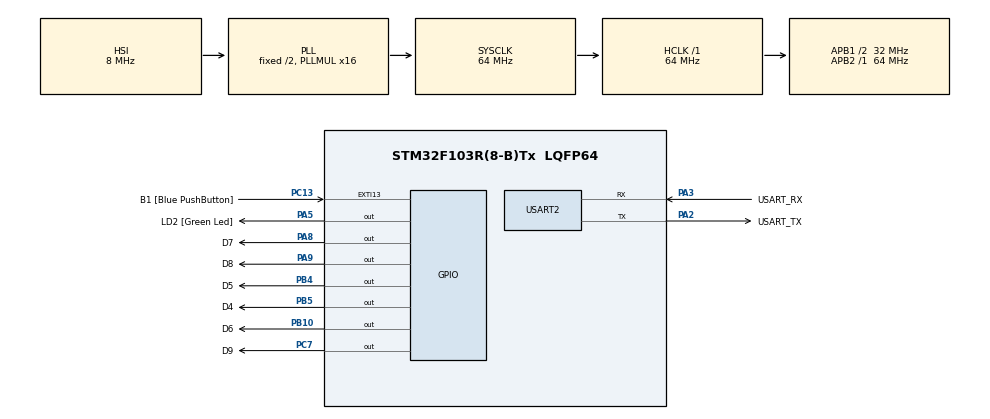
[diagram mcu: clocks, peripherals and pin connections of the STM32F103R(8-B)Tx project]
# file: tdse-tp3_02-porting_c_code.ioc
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<<<<<<< HEAD
Mcu.Family=STM32F1
Mcu.Name=STM32F103R(8-B)Tx
Mcu.Package=LQFP64
NVIC.EXTI15_10_IRQn=true\:0\:0\:false\:false\:true\:true\:true\:true
NVIC.PriorityGroup=NVIC_PRIORITYGROUP_4
PA13.GPIO_Label=TMS
PA13.Mode=Serial_Wire
PA13.Signal=SYS_JTMS-SWDIO
PA14.GPIO_Label=TCK
PA14.Mode=Serial_Wire
PA14.Signal=SYS_JTCK-SWCLK
PA2.GPIO_Label=USART_TX
PA2.GPIO_Mode=GPIO_MODE_AF_PP
PA2.GPIO_PuPd=GPIO_NOPULL
PA2.GPIO_Speed=GPIO_SPEED_FREQ_LOW
PA2.Mode=Asynchronous
PA2.Signal=USART2_TX
PA3.GPIO_Label=USART_RX
PA3.GPIO_Mode=GPIO_MODE_AF_PP
PA3.GPIO_PuPd=GPIO_NOPULL
PA3.GPIO_Speed=GPIO_SPEED_FREQ_LOW
PA3.Mode=Asynchronous
PA3.Signal=USART2_RX
PA5.GPIO_Label=LD2 [Green Led]
PA5.GPIO_ModeDefaultOutputPP=GPIO_MODE_OUTPUT_PP
PA5.GPIO_PuPd=GPIO_NOPULL
PA5.GPIO_Speed=GPIO_SPEED_FREQ_LOW
PA5.Signal=GPIO_Output
PA8.GPIO_Label=D7
PA8.GPIO_PuPd=GPIO_PULLUP
PA8.Signal=GPIO_Output
PA9.GPIO_Label=D8
PA9.GPIO_PuPd=GPIO_PULLUP
PA9.Signal=GPIO_Output
PB10.GPIO_Label=D6
PB10.GPIO_PuPd=GPIO_PULLUP
PB10.Signal=GPIO_Output
PB3.GPIO_Label=SWO
PB3.Signal=SYS_JTDO-TRACESWO
PB4.GPIO_Label=D5
PB4.GPIO_PuPd=GPIO_PULLUP
PB4.Signal=GPIO_Output
PB5.GPIO_Label=D4
PB5.GPIO_PuPd=GPIO_PULLUP
PB5.Signal=GPIO_Output
PC13-TAMPER-RTC.GPIO_Label=B1 [Blue PushButton]
PC13-TAMPER-RTC.GPIO_PuPd=GPIO_NOPULL
PC13-TAMPER-RTC.Signal=GPXTI13
PC14-OSC32_IN.Mode=LSE-External-Oscillator
PC14-OSC32_IN.Signal=RCC_OSC32_IN
PC15-OSC32_OUT.Mode=LSE-External-Oscillator
PC15-OSC32_OUT.Signal=RCC_OSC32_OUT
PC7.GPIO_Label=D9
PC7.GPIO_PuPd=GPIO_PULLUP
PC7.Signal=GPIO_Output
PD0-OSC_IN.Mode=HSE-External-Clock-Source
PD0-OSC_IN.Signal=RCC_OSC_IN
PD1-OSC_OUT.Mode=HSE-External-Clock-Source
PD1-OSC_OUT.Signal=RCC_OSC_OUT
ProjectManager.HeapSize=0x200
ProjectManager.StackSize=0x400
ProjectManager.TargetToolchain=STM32CubeIDE
RCC.AHBFreq_Value=64000000
RCC.APB1CLKDivider=RCC_HCLK_DIV2
RCC.APB1Freq_Value=32000000
RCC.APB1TimFreq_Value=64000000
RCC.APB2Freq_Value=64000000
RCC.APB2TimFreq_Value=64000000
RCC.HCLKFreq_Value=64000000
RCC.PLLMUL=RCC_PLL_MUL16
RCC.RTCClockSelection=RCC_RTCCLKSOURCE_LSE
RCC.SYSCLKFreq_VALUE=64000000
RCC.SYSCLKSource=RCC_SYSCLKSOURCE_PLLCLK
RCC.USBFreq_Value=64000000
USART2.VirtualMode=VM_ASYNC
board=NUCLEO-F103RB
=======
Mcu.Family=STM32F1
Mcu.Name=STM32F103R(8-B)Tx
Mcu.Package=LQFP64
NVIC.EXTI15_10_IRQn=true\:0\:0\:false\:false\:true\:true\:true\:true
NVIC.PriorityGroup=NVIC_PRIORITYGROUP_4
PA13.GPIO_Label=TMS
PA13.Mode=Serial_Wire
PA13.Signal=SYS_JTMS-SWDIO
PA14.GPIO_Label=TCK
PA14.Mode=Serial_Wire
PA14.Signal=SYS_JTCK-SWCLK
PA2.GPIO_Label=USART_TX
PA2.GPIO_Mode=GPIO_MODE_AF_PP
PA2.GPIO_PuPd=GPIO_NOPULL
PA2.GPIO_Speed=GPIO_SPEED_FREQ_LOW
PA2.Mode=Asynchronous
PA2.Signal=USART2_TX
PA3.GPIO_Label=USART_RX
PA3.GPIO_Mode=GPIO_MODE_AF_PP
PA3.GPIO_PuPd=GPIO_NOPULL
PA3.GPIO_Speed=GPIO_SPEED_FREQ_LOW
PA3.Mode=Asynchronous
PA3.Signal=USART2_RX
PA5.GPIO_Label=LD2 [Green Led]
PA5.GPIO_ModeDefaultOutputPP=GPIO_MODE_OUTPUT_PP
PA5.GPIO_PuPd=GPIO_NOPULL
PA5.GPIO_Speed=GPIO_SPEED_FREQ_LOW
PA5.Signal=GPIO_Output
PA8.GPIO_Label=D7
PA8.GPIO_PuPd=GPIO_PULLUP
PA8.Signal=GPIO_Output
PA9.GPIO_Label=D8
PA9.GPIO_PuPd=GPIO_PULLUP
PA9.Signal=GPIO_Output
PB10.GPIO_Label=D6
PB10.GPIO_PuPd=GPIO_PULLUP
PB10.Signal=GPIO_Output
PB3.GPIO_Label=SWO
PB3.Signal=SYS_JTDO-TRACESWO
PB4.GPIO_Label=D5
PB4.GPIO_PuPd=GPIO_PULLUP
PB4.Signal=GPIO_Output
PB5.GPIO_Label=D4
PB5.GPIO_PuPd=GPIO_PULLUP
PB5.Signal=GPIO_Output
PC13-TAMPER-RTC.GPIO_Label=B1 [Blue PushButton]
PC13-TAMPER-RTC.GPIO_PuPd=GPIO_NOPULL
PC13-TAMPER-RTC.Signal=GPXTI13
PC14-OSC32_IN.Mode=LSE-External-Oscillator
PC14-OSC32_IN.Signal=RCC_OSC32_IN
PC15-OSC32_OUT.Mode=LSE-External-Oscillator
PC15-OSC32_OUT.Signal=RCC_OSC32_OUT
PC7.GPIO_Label=D9
PC7.GPIO_PuPd=GPIO_PULLUP
PC7.Signal=GPIO_Output
PD0-OSC_IN.Mode=HSE-External-Clock-Source
PD0-OSC_IN.Signal=RCC_OSC_IN
PD1-OSC_OUT.Mode=HSE-External-Clock-Source
PD1-OSC_OUT.Signal=RCC_OSC_OUT
ProjectManager.HeapSize=0x200
ProjectManager.StackSize=0x400
ProjectManager.TargetToolchain=STM32CubeIDE
RCC.AHBFreq_Value=64000000
RCC.APB1CLKDivider=RCC_HCLK_DIV2
RCC.APB1Freq_Value=32000000
RCC.APB1TimFreq_Value=64000000
RCC.APB2Freq_Value=64000000
RCC.APB2TimFreq_Value=64000000
RCC.HCLKFreq_Value=64000000
RCC.PLLMUL=RCC_PLL_MUL16
RCC.RTCClockSelection=RCC_RTCCLKSOURCE_LSE
RCC.SYSCLKFreq_VALUE=64000000
RCC.SYSCLKSource=RCC_SYSCLKSOURCE_PLLCLK
RCC.USBFreq_Value=64000000
USART2.VirtualMode=VM_ASYNC
board=NUCLEO-F103RB
>>>>>>> ff0b824 (Subo Itemis Creat)

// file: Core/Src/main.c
<<<<<<< HEAD
/* USER CODE BEGIN Header */
/**
  ******************************************************************************
  * @file           : main.c
  * @brief          : Main program body
  ******************************************************************************
  * @attention
  *
  * Copyright (c) 2026 STMicroelectronics.
  * All rights reserved.
  *
  * This software is licensed under terms that can be found in the LICENSE file
  * in the root directory of this software component.
  * If no LICENSE file comes with this software, it is provided AS-IS.
  *
  ******************************************************************************
  */
/* USER CODE END Header */
#include "main.h"

/* USER CODE BEGIN Includes */

/* Application includes */
#include "logger.h"
#include "app.h"

/* USER CODE END Includes */

UART_HandleTypeDef huart2;

void SystemClock_Config(void);
static void MX_GPIO_Init(void);
static void MX_USART2_UART_Init(void);

/* USER CODE BEGIN 0 */
#if (1 == LOGGER_CONFIG_USE_SEMIHOSTING)

extern void initialise_monitor_handles(void);

#endif

/* USER CODE END 0 */

int main(void)
{

  /* USER CODE BEGIN 1 */
  #if (1 == LOGGER_CONFIG_USE_SEMIHOSTING)

  initialise_monitor_handles();

  #endif

  /* USER CODE END 1 */

  /* MCU Configuration--------------------------------------------------------*/

  /* Reset of all peripherals, Initializes the Flash interface and the Systick. */
  HAL_Init();

  /* Configure the system clock */
  SystemClock_Config();

  /* Initialize all configured peripherals */
  MX_GPIO_Init();
  MX_USART2_UART_Init();
  /* USER CODE BEGIN 2 */

  /* Application Init */
  app_init();

  /* USER CODE END 2 */

  /* Infinite loop */
  while (1)
  {

    /* USER CODE BEGIN 3 */

    /* Application Update */
    app_update();
  }
  /* USER CODE END 3 */
}

void SystemClock_Config(void)
{
  RCC_OscInitTypeDef RCC_OscInitStruct = {0};
  RCC_ClkInitTypeDef RCC_ClkInitStruct = {0};

  /** Initializes the RCC Oscillators according to the specified parameters
  * in the RCC_OscInitTypeDef structure.
  */
  RCC_OscInitStruct.OscillatorType = RCC_OSCILLATORTYPE_HSI;
  RCC_OscInitStruct.HSIState = RCC_HSI_ON;
  RCC_OscInitStruct.HSICalibrationValue = RCC_HSICALIBRATION_DEFAULT;
  RCC_OscInitStruct.PLL.PLLState = RCC_PLL_ON;
  RCC_OscInitStruct.PLL.PLLSource = RCC_PLLSOURCE_HSI_DIV2;
  RCC_OscInitStruct.PLL.PLLMUL = RCC_PLL_MUL16;
  if (HAL_RCC_OscConfig(&RCC_OscInitStruct) != HAL_OK)
  {
    Error_Handler();
  }

  /** Initializes the CPU, AHB and APB buses clocks
  */
  RCC_ClkInitStruct.ClockType = RCC_CLOCKTYPE_HCLK|RCC_CLOCKTYPE_SYSCLK
                              |RCC_CLOCKTYPE_PCLK1|RCC_CLOCKTYPE_PCLK2;
  RCC_ClkInitStruct.SYSCLKSource = RCC_SYSCLKSOURCE_PLLCLK;
  RCC_ClkInitStruct.AHBCLKDivider = RCC_SYSCLK_DIV1;
  RCC_ClkInitStruct.APB1CLKDivider = RCC_HCLK_DIV2;
  RCC_ClkInitStruct.APB2CLKDivider = RCC_HCLK_DIV1;

  if (HAL_RCC_ClockConfig(&RCC_ClkInitStruct, FLASH_LATENCY_2) != HAL_OK)
  {
    Error_Handler();
  }
}

static void MX_USART2_UART_Init(void)
{

  huart2.Instance = USART2;
  huart2.Init.BaudRate = 115200;
  huart2.Init.WordLength = UART_WORDLENGTH_8B;
  huart2.Init.StopBits = UART_STOPBITS_1;
  huart2.Init.Parity = UART_PARITY_NONE;
  huart2.Init.Mode = UART_MODE_TX_RX;
  huart2.Init.HwFlowCtl = UART_HWCONTROL_NONE;
  huart2.Init.OverSampling = UART_OVERSAMPLING_16;
  if (HAL_UART_Init(&huart2) != HAL_OK)
  {
    Error_Handler();
  }

}

static void MX_GPIO_Init(void)
{
  GPIO_InitTypeDef GPIO_InitStruct = {0};

  /* GPIO Ports Clock Enable */
  __HAL_RCC_GPIOC_CLK_ENABLE();
  __HAL_RCC_GPIOD_CLK_ENABLE();
  __HAL_RCC_GPIOA_CLK_ENABLE();
  __HAL_RCC_GPIOB_CLK_ENABLE();

  /*Configure GPIO pin Output Level */
  HAL_GPIO_WritePin(GPIOA, LD2_Pin|D7_Pin|D8_Pin, GPIO_PIN_RESET);

  /*Configure GPIO pin Output Level */
  HAL_GPIO_WritePin(GPIOB, D6_Pin|D5_Pin|D4_Pin, GPIO_PIN_RESET);

  /*Configure GPIO pin Output Level */
  HAL_GPIO_WritePin(D9_GPIO_Port, D9_Pin, GPIO_PIN_RESET);

  /*Configure GPIO pin : B1_Pin */
  GPIO_InitStruct.Pin = B1_Pin;
  GPIO_InitStruct.Mode = GPIO_MODE_IT_RISING;
  GPIO_InitStruct.Pull = GPIO_NOPULL;
  HAL_GPIO_Init(B1_GPIO_Port, &GPIO_InitStruct);

  /*Configure GPIO pin : LD2_Pin */
  GPIO_InitStruct.Pin = LD2_Pin;
  GPIO_InitStruct.Mode = GPIO_MODE_OUTPUT_PP;
  GPIO_InitStruct.Pull = GPIO_NOPULL;
  GPIO_InitStruct.Speed = GPIO_SPEED_FREQ_LOW;
  HAL_GPIO_Init(LD2_GPIO_Port, &GPIO_InitStruct);

  /*Configure GPIO pins : D6_Pin D5_Pin D4_Pin */
  GPIO_InitStruct.Pin = D6_Pin|D5_Pin|D4_Pin;
  GPIO_InitStruct.Mode = GPIO_MODE_OUTPUT_PP;
  GPIO_InitStruct.Pull = GPIO_PULLUP;
  GPIO_InitStruct.Speed = GPIO_SPEED_FREQ_LOW;
  HAL_GPIO_Init(GPIOB, &GPIO_InitStruct);

  /*Configure GPIO pin : D9_Pin */
  GPIO_InitStruct.Pin = D9_Pin;
  GPIO_InitStruct.Mode = GPIO_MODE_OUTPUT_PP;
  GPIO_InitStruct.Pull = GPIO_PULLUP;
  GPIO_InitStruct.Speed = GPIO_SPEED_FREQ_LOW;
  HAL_GPIO_Init(D9_GPIO_Port, &GPIO_InitStruct);

  /*Configure GPIO pins : D7_Pin D8_Pin */
  GPIO_InitStruct.Pin = D7_Pin|D8_Pin;
  GPIO_InitStruct.Mode = GPIO_MODE_OUTPUT_PP;
  GPIO_InitStruct.Pull = GPIO_PULLUP;
  GPIO_InitStruct.Speed = GPIO_SPEED_FREQ_LOW;
  HAL_GPIO_Init(GPIOA, &GPIO_InitStruct);

  /* EXTI interrupt init*/
  HAL_NVIC_SetPriority(EXTI15_10_IRQn, 0, 0);
  HAL_NVIC_EnableIRQ(EXTI15_10_IRQn);

}

void Error_Handler(void)
{
  __disable_irq();
  while (1)
  {
  }
}
=======
/* USER CODE BEGIN Header */
/**
  ******************************************************************************
  * @file           : main.c
  * @brief          : Main program body
  ******************************************************************************
  * @attention
  *
  * Copyright (c) 2026 STMicroelectronics.
  * All rights reserved.
  *
  * This software is licensed under terms that can be found in the LICENSE file
  * in the root directory of this software component.
  * If no LICENSE file comes with this software, it is provided AS-IS.
  *
  ******************************************************************************
  */
/* USER CODE END Header */
#include "main.h"

/* USER CODE BEGIN Includes */

/* Application includes */
#include "logger.h"
#include "app.h"

/* USER CODE END Includes */

UART_HandleTypeDef huart2;

void SystemClock_Config(void);
static void MX_GPIO_Init(void);
static void MX_USART2_UART_Init(void);

/* USER CODE BEGIN 0 */
#if (1 == LOGGER_CONFIG_USE_SEMIHOSTING)

extern void initialise_monitor_handles(void);

#endif

/* USER CODE END 0 */

int main(void)
{

  /* USER CODE BEGIN 1 */
  #if (1 == LOGGER_CONFIG_USE_SEMIHOSTING)

  initialise_monitor_handles();

  #endif

  /* USER CODE END 1 */

  /* MCU Configuration--------------------------------------------------------*/

  /* Reset of all peripherals, Initializes the Flash interface and the Systick. */
  HAL_Init();

  /* Configure the system clock */
  SystemClock_Config();

  /* Initialize all configured peripherals */
  MX_GPIO_Init();
  MX_USART2_UART_Init();
  /* USER CODE BEGIN 2 */

  /* Application Init */
  app_init();

  /* USER CODE END 2 */

  /* Infinite loop */
  while (1)
  {

    /* USER CODE BEGIN 3 */

    /* Application Update */
    app_update();
  }
  /* USER CODE END 3 */
}

void SystemClock_Config(void)
{
  RCC_OscInitTypeDef RCC_OscInitStruct = {0};
  RCC_ClkInitTypeDef RCC_ClkInitStruct = {0};

  /** Initializes the RCC Oscillators according to the specified parameters
  * in the RCC_OscInitTypeDef structure.
  */
  RCC_OscInitStruct.OscillatorType = RCC_OSCILLATORTYPE_HSI;
  RCC_OscInitStruct.HSIState = RCC_HSI_ON;
  RCC_OscInitStruct.HSICalibrationValue = RCC_HSICALIBRATION_DEFAULT;
  RCC_OscInitStruct.PLL.PLLState = RCC_PLL_ON;
  RCC_OscInitStruct.PLL.PLLSource = RCC_PLLSOURCE_HSI_DIV2;
  RCC_OscInitStruct.PLL.PLLMUL = RCC_PLL_MUL16;
  if (HAL_RCC_OscConfig(&RCC_OscInitStruct) != HAL_OK)
  {
    Error_Handler();
  }

  /** Initializes the CPU, AHB and APB buses clocks
  */
  RCC_ClkInitStruct.ClockType = RCC_CLOCKTYPE_HCLK|RCC_CLOCKTYPE_SYSCLK
                              |RCC_CLOCKTYPE_PCLK1|RCC_CLOCKTYPE_PCLK2;
  RCC_ClkInitStruct.SYSCLKSource = RCC_SYSCLKSOURCE_PLLCLK;
  RCC_ClkInitStruct.AHBCLKDivider = RCC_SYSCLK_DIV1;
  RCC_ClkInitStruct.APB1CLKDivider = RCC_HCLK_DIV2;
  RCC_ClkInitStruct.APB2CLKDivider = RCC_HCLK_DIV1;

  if (HAL_RCC_ClockConfig(&RCC_ClkInitStruct, FLASH_LATENCY_2) != HAL_OK)
  {
    Error_Handler();
  }
}

static void MX_USART2_UART_Init(void)
{

  huart2.Instance = USART2;
  huart2.Init.BaudRate = 115200;
  huart2.Init.WordLength = UART_WORDLENGTH_8B;
  huart2.Init.StopBits = UART_STOPBITS_1;
  huart2.Init.Parity = UART_PARITY_NONE;
  huart2.Init.Mode = UART_MODE_TX_RX;
  huart2.Init.HwFlowCtl = UART_HWCONTROL_NONE;
  huart2.Init.OverSampling = UART_OVERSAMPLING_16;
  if (HAL_UART_Init(&huart2) != HAL_OK)
  {
    Error_Handler();
  }

}

static void MX_GPIO_Init(void)
{
  GPIO_InitTypeDef GPIO_InitStruct = {0};

  /* GPIO Ports Clock Enable */
  __HAL_RCC_GPIOC_CLK_ENABLE();
  __HAL_RCC_GPIOD_CLK_ENABLE();
  __HAL_RCC_GPIOA_CLK_ENABLE();
  __HAL_RCC_GPIOB_CLK_ENABLE();

  /*Configure GPIO pin Output Level */
  HAL_GPIO_WritePin(GPIOA, LD2_Pin|D7_Pin|D8_Pin, GPIO_PIN_RESET);

  /*Configure GPIO pin Output Level */
  HAL_GPIO_WritePin(GPIOB, D6_Pin|D5_Pin|D4_Pin, GPIO_PIN_RESET);

  /*Configure GPIO pin Output Level */
  HAL_GPIO_WritePin(D9_GPIO_Port, D9_Pin, GPIO_PIN_RESET);

  /*Configure GPIO pin : B1_Pin */
  GPIO_InitStruct.Pin = B1_Pin;
  GPIO_InitStruct.Mode = GPIO_MODE_IT_RISING;
  GPIO_InitStruct.Pull = GPIO_NOPULL;
  HAL_GPIO_Init(B1_GPIO_Port, &GPIO_InitStruct);

  /*Configure GPIO pin : LD2_Pin */
  GPIO_InitStruct.Pin = LD2_Pin;
  GPIO_InitStruct.Mode = GPIO_MODE_OUTPUT_PP;
  GPIO_InitStruct.Pull = GPIO_NOPULL;
  GPIO_InitStruct.Speed = GPIO_SPEED_FREQ_LOW;
  HAL_GPIO_Init(LD2_GPIO_Port, &GPIO_InitStruct);

  /*Configure GPIO pins : D6_Pin D5_Pin D4_Pin */
  GPIO_InitStruct.Pin = D6_Pin|D5_Pin|D4_Pin;
  GPIO_InitStruct.Mode = GPIO_MODE_OUTPUT_PP;
  GPIO_InitStruct.Pull = GPIO_PULLUP;
  GPIO_InitStruct.Speed = GPIO_SPEED_FREQ_LOW;
  HAL_GPIO_Init(GPIOB, &GPIO_InitStruct);

  /*Configure GPIO pin : D9_Pin */
  GPIO_InitStruct.Pin = D9_Pin;
  GPIO_InitStruct.Mode = GPIO_MODE_OUTPUT_PP;
  GPIO_InitStruct.Pull = GPIO_PULLUP;
  GPIO_InitStruct.Speed = GPIO_SPEED_FREQ_LOW;
  HAL_GPIO_Init(D9_GPIO_Port, &GPIO_InitStruct);

  /*Configure GPIO pins : D7_Pin D8_Pin */
  GPIO_InitStruct.Pin = D7_Pin|D8_Pin;
  GPIO_InitStruct.Mode = GPIO_MODE_OUTPUT_PP;
  GPIO_InitStruct.Pull = GPIO_PULLUP;
  GPIO_InitStruct.Speed = GPIO_SPEED_FREQ_LOW;
  HAL_GPIO_Init(GPIOA, &GPIO_InitStruct);

  /* EXTI interrupt init*/
  HAL_NVIC_SetPriority(EXTI15_10_IRQn, 0, 0);
  HAL_NVIC_EnableIRQ(EXTI15_10_IRQn);

}

void Error_Handler(void)
{
  __disable_irq();
  while (1)
  {
  }
}
>>>>>>> ff0b824 (Subo Itemis Creat)
